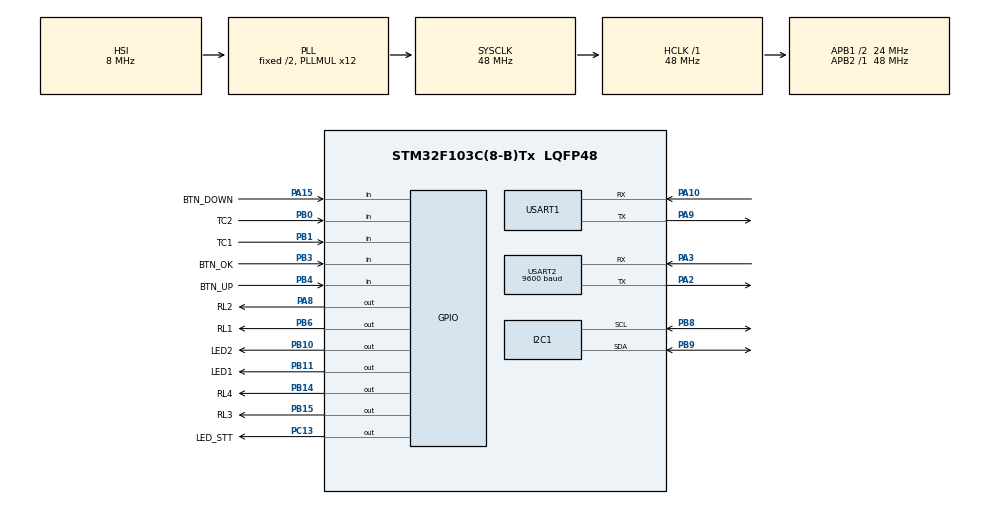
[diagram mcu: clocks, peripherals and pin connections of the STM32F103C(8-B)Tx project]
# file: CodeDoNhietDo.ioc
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Mcu.Family=STM32F1
Mcu.Name=STM32F103C(8-B)Tx
Mcu.Package=LQFP48
NVIC.PriorityGroup=NVIC_PRIORITYGROUP_4
NVIC.USART2_IRQn=true\:0\:0\:false\:false\:true\:true\:true\:true
PA10.Mode=Asynchronous
PA10.Signal=USART1_RX
PA13.Mode=Serial_Wire
PA13.Signal=SYS_JTMS-SWDIO
PA14.Mode=Serial_Wire
PA14.Signal=SYS_JTCK-SWCLK
PA15.GPIO_Label=BTN_DOWN
PA15.Signal=GPIO_Input
PA2.Mode=Asynchronous
PA2.Signal=USART2_TX
PA3.Mode=Asynchronous
PA3.Signal=USART2_RX
PA8.GPIO_Label=RL2
PA8.Signal=GPIO_Output
PA9.Mode=Asynchronous
PA9.Signal=USART1_TX
PB0.GPIO_Label=TC2
PB0.Signal=GPIO_Input
PB1.GPIO_Label=TC1
PB1.Signal=GPIO_Input
PB10.GPIO_Label=LED2
PB10.Signal=GPIO_Output
PB11.GPIO_Label=LED1
PB11.Signal=GPIO_Output
PB14.GPIO_Label=RL4
PB14.Signal=GPIO_Output
PB15.GPIO_Label=RL3
PB15.Signal=GPIO_Output
PB3.GPIO_Label=BTN_OK
PB3.Signal=GPIO_Input
PB4.GPIO_Label=BTN_UP
PB4.Signal=GPIO_Input
PB6.GPIO_Label=RL1
PB6.Signal=GPIO_Output
PB8.Mode=I2C
PB8.Signal=I2C1_SCL
PB9.Mode=I2C
PB9.Signal=I2C1_SDA
PC13-TAMPER-RTC.GPIO_Label=LED_STT
PC13-TAMPER-RTC.Signal=GPIO_Output
PD0-OSC_IN.Mode=HSE-External-Clock-Source
PD0-OSC_IN.Signal=RCC_OSC_IN
PD1-OSC_OUT.Mode=HSE-External-Clock-Source
PD1-OSC_OUT.Signal=RCC_OSC_OUT
ProjectManager.HeapSize=0x200
ProjectManager.StackSize=0x400
ProjectManager.TargetToolchain=STM32CubeIDE
RCC.AHBFreq_Value=48000000
RCC.APB1CLKDivider=RCC_HCLK_DIV2
RCC.APB1Freq_Value=24000000
RCC.APB1TimFreq_Value=48000000
RCC.APB2Freq_Value=48000000
RCC.APB2TimFreq_Value=48000000
RCC.HCLKFreq_Value=48000000
RCC.PLLMUL=RCC_PLL_MUL12
RCC.SYSCLKFreq_VALUE=48000000
RCC.SYSCLKSource=RCC_SYSCLKSOURCE_PLLCLK
RCC.USBFreq_Value=48000000
USART1.VirtualMode=VM_ASYNC
USART2.BaudRate=9600
USART2.VirtualMode=VM_ASYNC
board=custom

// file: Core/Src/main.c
/* USER CODE BEGIN Header */
/**
  ******************************************************************************
  * @file           : main.c
  * @brief          : Main program body
  ******************************************************************************
  * @attention
  *
  * Copyright (c) 2023 STMicroelectronics.
  * All rights reserved.
  *
  * This software is licensed under terms that can be found in the LICENSE file
  * in the root directory of this software component.
  * If no LICENSE file comes with this software, it is provided AS-IS.
  *
  ******************************************************************************
  */
/* USER CODE END Header */
#include "main.h"
#include "i2c.h"
#include "usart.h"
#include "gpio.h"

/* USER CODE BEGIN Includes */
#include "string.h"
#include "stdlib.h"
#include "stdio.h"
#include "../user_lib/lcd_i2c.h"
#include "../user_lib/MLX90614.h"
#include "../user_lib/DFPLAYER.h"

/* USER CODE END Includes */

void SystemClock_Config(void);

/* USER CODE BEGIN 0 */
char txt[30]="";
DFPLAYER_Name MP3;

//35.5
void Sound1()
{
	int t=900;
	//36,5
	DFPLAYER_PlayFileInFolder(&MP3,F_03,mp3_03); HAL_Delay(1200);
	DFPLAYER_PlayFileInFolder(&MP3,F_05,mp3_05); HAL_Delay(t);
	DFPLAYER_PlayFileInFolder(&MP3,F_00,mp3_00); HAL_Delay(t);
	DFPLAYER_PlayFileInFolder(&MP3,F_05,mp3_05); HAL_Delay(t);
}

//37.3
void Sound2()
{
	int t=900;
	//37,5
	DFPLAYER_PlayFileInFolder(&MP3,F_03,mp3_03); HAL_Delay(1200);
	DFPLAYER_PlayFileInFolder(&MP3,F_07,mp3_07); HAL_Delay(t);
	DFPLAYER_PlayFileInFolder(&MP3,F_00,mp3_00); HAL_Delay(t);
	DFPLAYER_PlayFileInFolder(&MP3,F_03,mp3_03); HAL_Delay(t);
}

#define ON 1
#define OFF 0
#define RL1(stt) HAL_GPIO_WritePin(RL1_GPIO_Port, RL1_Pin, stt)
#define RL2(stt) HAL_GPIO_WritePin(RL2_GPIO_Port, RL2_Pin, stt)
#define RL3(stt) HAL_GPIO_WritePin(RL3_GPIO_Port, RL3_Pin, stt)
#define RL4(stt) HAL_GPIO_WritePin(RL4_GPIO_Port, RL4_Pin, stt)
#define ReadTC1 HAL_GPIO_ReadPin(TC2_GPIO_Port, TC2_Pin)
#define ReadTC2 HAL_GPIO_ReadPin(TC1_GPIO_Port, TC1_Pin)
#define ReadBtnOk HAL_GPIO_ReadPin(BTN_OK_GPIO_Port, BTN_OK_Pin)
#define ReadBtnUp HAL_GPIO_ReadPin(BTN_UP_GPIO_Port, BTN_UP_Pin)
#define ReadBtnDown HAL_GPIO_ReadPin(BTN_DOWN_GPIO_Port, BTN_DOWN_Pin)

float nhiet_do=0;

void delay_user(int t);

void delay_user(int t)
{
	while(t>0)
	{
		t--;
		HAL_Delay(1);
		if(!ReadTC2)
		{
		  RL4(ON);
		  HAL_Delay(50);
		}
		else RL4(OFF);
		if(!(ReadTC1)) break;
		else if(ReadBtnDown || ReadBtnOk || ReadBtnUp) break;
	}
}

void phatAmThanhNhietDo(float t);
void phatAmThanhNhietDo(float t)
{
	float t_temp=t*100;
	DFPLAYER_PlayFileInFolder(&MP3,F_01,nhietDoLa); HAL_Delay(2000); //phay
	mapSound((int)t_temp/1000%10, 1200);
	mapSound((int)t_temp/100%10, 1000);
	DFPLAYER_PlayFileInFolder(&MP3,F_01,phay); HAL_Delay(1000); //phay
	mapSound((int)t_temp/10%10, 1000);
	//mapSound(t_temp%10, 1000);
}

void mapSound(int p,int t);
void mapSound(int p,int t)
{
	switch(p)
	{
		case 0: DFPLAYER_PlayFileInFolder(&MP3,F_00,mp3_00); HAL_Delay(t); break;
		case 1: DFPLAYER_PlayFileInFolder(&MP3,F_00,mp3_01); HAL_Delay(t); break;
		case 2: DFPLAYER_PlayFileInFolder(&MP3,F_00,mp3_02); HAL_Delay(t); break;
		case 3: DFPLAYER_PlayFileInFolder(&MP3,F_00,mp3_03); HAL_Delay(t); break;
		case 4: DFPLAYER_PlayFileInFolder(&MP3,F_00,mp3_04); HAL_Delay(t); break;
		case 5: DFPLAYER_PlayFileInFolder(&MP3,F_00,mp3_05); HAL_Delay(t); break;
		case 6: DFPLAYER_PlayFileInFolder(&MP3,F_00,mp3_06); HAL_Delay(t); break;
		case 7: DFPLAYER_PlayFileInFolder(&MP3,F_00,mp3_07); HAL_Delay(t); break;
		case 8: DFPLAYER_PlayFileInFolder(&MP3,F_00,mp3_08); HAL_Delay(t); break;
		case 9: DFPLAYER_PlayFileInFolder(&MP3,F_00,mp3_09); HAL_Delay(t); break;
		default: break;
	}
}

/* USER CODE END 0 */

int main(void)
{

  /* MCU Configuration--------------------------------------------------------*/

  /* Reset of all peripherals, Initializes the Flash interface and the Systick. */
  HAL_Init();

  /* Configure the system clock */
  SystemClock_Config();

  /* Initialize all configured peripherals */
  MX_GPIO_Init();
  MX_I2C1_Init();
  MX_USART1_UART_Init();
  MX_USART2_UART_Init();
  /* USER CODE BEGIN 2 */
  RL1(OFF);
  RL2(OFF);
  RL3(OFF);
  RL4(OFF);

  HAL_Delay(2000);
  lcd_init();
  HAL_Delay(100);
  int count=0;
  int count1=0;
  int tempSet=36;
  lcd_clear(); lcd_string(1, 1, "Run application");
	DFPLAYER_Init(&MP3,&huart2);
	DFPLAYER_SetVolume(&MP3,30);
	HAL_Delay(500);
	lcd_clear();

  while(1)
  {

	  nhiet_do=readObjectTempC();
	  sprintf(txt,"Temp: %0.1f",nhiet_do);
	  lcd_string(1, 1, txt);
	  sprintf(txt,"Count: %d",count);
	  lcd_string(2,1,txt);

	  if(!(ReadTC1))
	  {
		  HAL_Delay(100);
		  sprintf(txt,"Temp: %0.1f",nhiet_do);
		  lcd_string(1, 1, txt);
		  count++;
		  sprintf(txt,"Count: %d",count);
		  lcd_string(2,1,txt);

		  phatAmThanhNhietDo(nhiet_do);

		  if(nhiet_do>=tempSet)
		  {
			  lcd_clear();
			  lcd_string(1, 2, "CANH BAO NHIET");
			  lcd_string(2, 6, "DO CAO");
		  }
		  else
		  {
			  lcd_clear();
			  lcd_string(1,2, "NHIET DO BINH");
			  lcd_string(2,6, "THUONG");
		  }

		  HAL_Delay(3000);
		  lcd_clear(); lcd_string(1, 3, "YEU CAU KHU"); lcd_string(2, 6, "KHUAN");
		  DFPLAYER_PlayFileInFolder(&MP3,F_01,yeuCauKhuKhuan); HAL_Delay(1200);
		  HAL_GPIO_WritePin(RL3_GPIO_Port, RL3_Pin, 1);
		  HAL_Delay(12000);

		  HAL_GPIO_WritePin(RL3_GPIO_Port, RL3_Pin, 0);
		  lcd_clear(); lcd_string(1, 3, "DA KHU KHUAN"); lcd_string(2, 7, "XONG");
		  DFPLAYER_PlayFileInFolder(&MP3,F_01,daKhuKhuanXong); HAL_Delay(1200);
		  HAL_Delay(3000);
		  while(!HAL_GPIO_ReadPin(TC2_GPIO_Port, TC2_Pin));
		  lcd_clear();
		  sprintf(txt,"Temp: %0.1f",nhiet_do);
		  lcd_string(1, 1, txt);
		  sprintf(txt,"Count: %d",count);
		  lcd_string(2,1,txt);
	  }//if(!(ReadTC1))

	  if(ReadBtnOk)
	  {
		  lcd_clear();
		  sprintf(txt,"Set temp: %d",tempSet);
		  lcd_string(1, 1, txt);
		  while(ReadBtnOk);
		  while(1)
		  {
			  if(ReadBtnUp)
			  {
				  sprintf(txt,"Set temp: %d",tempSet++);
				  lcd_string(1, 1, txt);
				  while(ReadBtnUp);
			  }
			  else if(ReadBtnDown)
			  {
				  sprintf(txt,"Set temp: %d",tempSet--);
				  lcd_string(1, 1, txt);
				  while(ReadBtnDown);
			  }
			  HAL_Delay(10);
			  if(HAL_GPIO_ReadPin(BTN_OK_GPIO_Port, BTN_OK_Pin)) break;
		  }
		  lcd_clear();
		  sprintf(txt,"Temp: %0.1f",nhiet_do);
		  lcd_string(1, 1, txt);
		  sprintf(txt,"Count: %d",count);
		  lcd_string(2,1,txt);
		  while(ReadBtnOk);
	  }

	  delay_user(1000);
	  HAL_GPIO_TogglePin(LED1_GPIO_Port, LED_STT_Pin);
  }//while

  /* USER CODE END 2 */

  /* Infinite loop */
  /* USER CODE BEGIN WHILE */
  while (1)
  {

	  float nhiet_do=readObjectTempC();
	  sprintf(txt,"Nhiet do: %0.2f",nhiet_do);
	  lcd_string(1, 1, txt);
	  HAL_GPIO_TogglePin(LED_STT_GPIO_Port, LED_STT_Pin);
	  HAL_Delay(500);

	  //HAL_Delay(100);
    /* USER CODE END WHILE */

  }
}

void SystemClock_Config(void)
{
  RCC_OscInitTypeDef RCC_OscInitStruct = {0};
  RCC_ClkInitTypeDef RCC_ClkInitStruct = {0};

  /** Initializes the RCC Oscillators according to the specified parameters
  * in the RCC_OscInitTypeDef structure.
  */
  RCC_OscInitStruct.OscillatorType = RCC_OSCILLATORTYPE_HSI;
  RCC_OscInitStruct.HSIState = RCC_HSI_ON;
  RCC_OscInitStruct.HSICalibrationValue = RCC_HSICALIBRATION_DEFAULT;
  RCC_OscInitStruct.PLL.PLLState = RCC_PLL_ON;
  RCC_OscInitStruct.PLL.PLLSource = RCC_PLLSOURCE_HSI_DIV2;
  RCC_OscInitStruct.PLL.PLLMUL = RCC_PLL_MUL12;
  if (HAL_RCC_OscConfig(&RCC_OscInitStruct) != HAL_OK)
  {
    Error_Handler();
  }

  /** Initializes the CPU, AHB and APB buses clocks
  */
  RCC_ClkInitStruct.ClockType = RCC_CLOCKTYPE_HCLK|RCC_CLOCKTYPE_SYSCLK
                              |RCC_CLOCKTYPE_PCLK1|RCC_CLOCKTYPE_PCLK2;
  RCC_ClkInitStruct.SYSCLKSource = RCC_SYSCLKSOURCE_PLLCLK;
  RCC_ClkInitStruct.AHBCLKDivider = RCC_SYSCLK_DIV1;
  RCC_ClkInitStruct.APB1CLKDivider = RCC_HCLK_DIV2;
  RCC_ClkInitStruct.APB2CLKDivider = RCC_HCLK_DIV1;

  if (HAL_RCC_ClockConfig(&RCC_ClkInitStruct, FLASH_LATENCY_1) != HAL_OK)
  {
    Error_Handler();
  }
}

void Error_Handler(void)
{
  __disable_irq();
  while (1)
  {
  }
}
